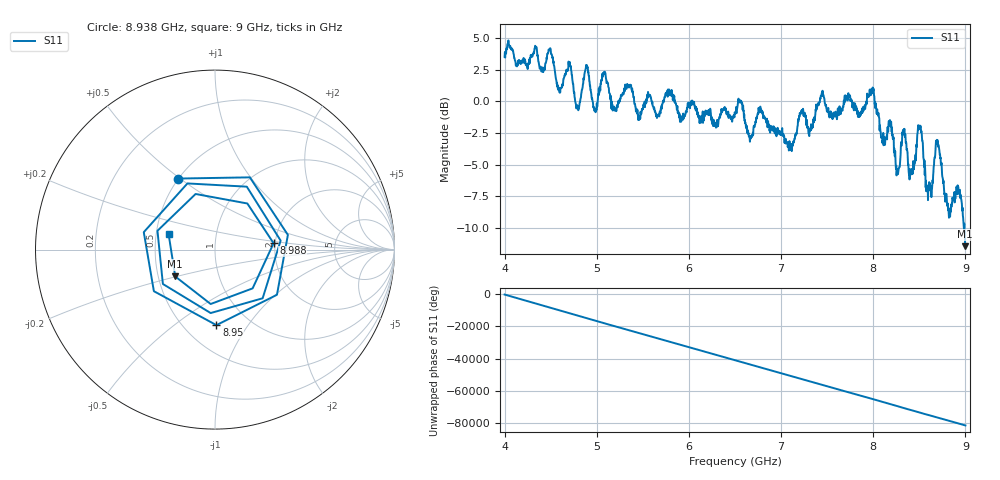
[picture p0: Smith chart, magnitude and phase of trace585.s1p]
! Created with skrf 1.8.0 (http://scikit-rf.org).
# Hz S RI R 50.0
!freq ReS11 ImS11
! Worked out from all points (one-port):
!   1601 points, 4 GHz to 9 GHz, reference 50 ohm
!   lowest |S11| = -11.5 dB at 8.997 GHz (marker M1), VSWR 1.73, Z = 30.7 - j9.87 ohm
!   |S11| at or under -10 dB: 8.983495 GHz to 8.984664 GHz (1.169 MHz wide, 0.013 % of centre); 8.9893 GHz to end of sweep
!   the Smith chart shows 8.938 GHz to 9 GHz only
!   S11 on the Smith chart (normalised r, x): 8.938 GHz: 0.50, +0.49; 8.95 GHz: 0.71, -0.72; 8.988 GHz: 1.96, +0.16; 9 GHz: 0.58, +0.11
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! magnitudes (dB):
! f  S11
! 4 GHz  3.5
! 4.491 GHz  4.1
! 4.625 GHz  1.2
! 4.706 GHz  3.1
! 4.794 GHz  -0.4
! 4.891 GHz  2.7
! 4.981 GHz  -0.7
! 5.078 GHz  2.3
! 5.25 GHz  0.0
! 5.875 GHz  -0.4
! 6.5 GHz  -1.0
! 7.125 GHz  -3.5
! 7.444 GHz  0.7
! 7.75 GHz  0.4
! 7.988 GHz  0.8
! 8.262 GHz  -5.4
! 8.325 GHz  -2.3
! 8.375 GHz  -4.5
! 8.419 GHz  -5.5
! 8.503 GHz  -1.9
! 8.594 GHz  -7.8
! 8.7 GHz  -3.1
! 8.822 GHz  -9.2
! 8.938 GHz  -7.0
! 8.95 GHz  -7.5
! 8.988 GHz  -9.7
! 8.997 GHz  -11.5
! 9 GHz  -11.3
